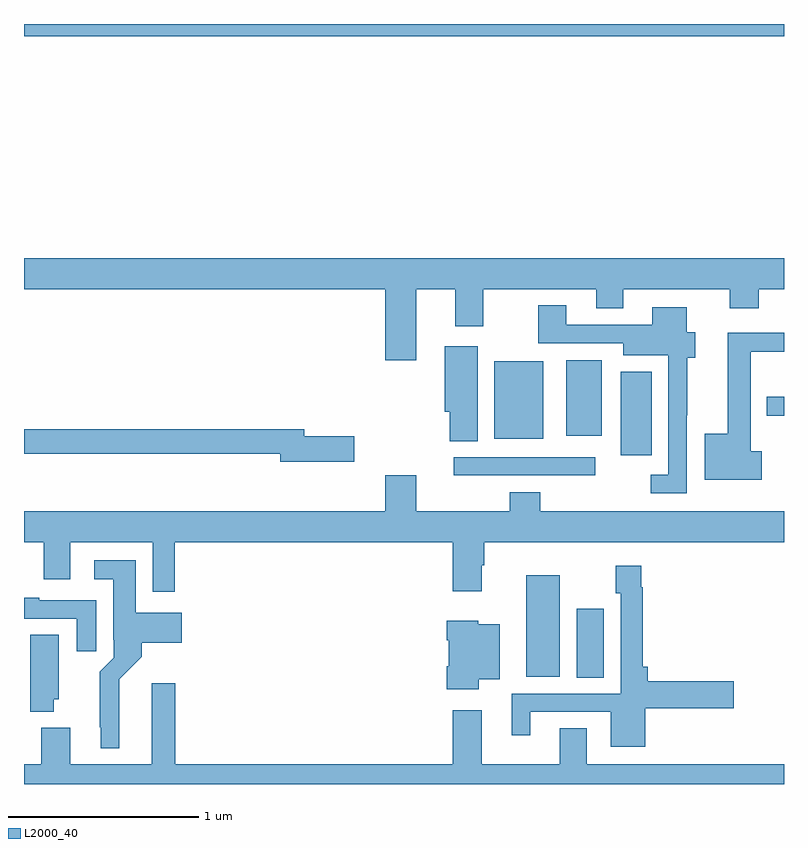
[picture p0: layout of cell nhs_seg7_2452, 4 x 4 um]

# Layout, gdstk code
import gdstk
lib = gdstk.Library(unit=1e-6, precision=1e-09)
def R(c, l, rs):  # rectangles x0, y0, x1, y1
    for r in rs: c.add(gdstk.rectangle(r[:2], r[2:], *l))
def P(c, l, *ps):  # polygons
    for p in ps: c.add(gdstk.Polygon(p, *l))
L2000_40 = (2000, 40)

nhs_seg7_2452 = lib.new_cell('nhs_seg7_2452')
R(nhs_seg7_2452, L2000_40, [(273.908,1010.56,274.051,1010.923), (273.644,1010.564,273.82,1011.1), (273.261,1011.624,274.006,1011.72), (274.142,1011.729,274.303,1012.171), (273.476,1011.818,273.733,1012.225), (273.854,1011.833,274.042,1012.231), (274.91,1011.938,275,1012.038), (271,1013.936,275,1014)])
P(nhs_seg7_2452, L2000_40, [(273.064,1012.604),(273.269,1012.604),(273.269,1012.41),(273.417,1012.41),(273.417,1012.604),(274.013,1012.604),(274.013,1012.505),(274.153,1012.505),(274.153,1012.604),(274.715,1012.604),(274.715,1012.505),(274.868,1012.505),(274.868,1012.604),(275,1012.604),(275,1012.768),(271,1012.768),(271,1012.604),(272.9,1012.604),(272.9,1012.23),(273.064,1012.23)],
  [(274.488,1011.94),(274.49,1011.94),(274.49,1012.244),(274.534,1012.244),(274.534,1012.378),(274.489,1012.378),(274.489,1012.51),(274.307,1012.51),(274.307,1012.416),(273.853,1012.416),(273.853,1012.519),(273.706,1012.519),(273.706,1012.32),(274.154,1012.32),(274.154,1012.256),(274.392,1012.256),(274.392,1011.627),(274.299,1011.627),(274.299,1011.531),(274.488,1011.531)],
  [(274.882,1011.752),(274.825,1011.752),(274.825,1012.276),(275,1012.276),(275,1012.375),(274.703,1012.375),(274.703,1011.844),(274.583,1011.844),(274.583,1011.602),(274.882,1011.602)],
  [(273.388,1012.303),(273.215,1012.303),(273.215,1011.959),(273.242,1011.959),(273.242,1011.805),(273.388,1011.805)],
  [(272.737,1011.83),(272.476,1011.83),(272.476,1011.866),(271,1011.866),(271,1011.738),(272.348,1011.738),(272.348,1011.695),(272.737,1011.695)],
  [(271.793,1011.272),(273.257,1011.272),(273.257,1011.015),(273.409,1011.015),(273.409,1011.152),(273.422,1011.152),(273.422,1011.272),(275,1011.272),(275,1011.436),(273.716,1011.436),(273.716,1011.535),(273.556,1011.535),(273.556,1011.436),(273.064,1011.436),(273.064,1011.625),(272.9,1011.625),(272.9,1011.436),(271,1011.436),(271,1011.272),(271.103,1011.272),(271.103,1011.078),(271.243,1011.078),(271.243,1011.272),(271.677,1011.272),(271.677,1011.012),(271.793,1011.012)],
  [(271.501,1010.552),(271.619,1010.67),(271.619,1010.744),(271.831,1010.744),(271.831,1010.902),(271.588,1010.902),(271.588,1011.178),(271.371,1011.178),(271.371,1011.077),(271.469,1011.077),(271.469,1010.758),(271.473,1010.758),(271.473,1010.664),(271.399,1010.59),(271.399,1010.299),(271.403,1010.299),(271.403,1010.189),(271.501,1010.189)],
  [(274.27,1010.398),(274.735,1010.398),(274.735,1010.54),(274.283,1010.54),(274.283,1010.617),(274.256,1010.617),(274.256,1011.035),(274.249,1011.035),(274.249,1011.148),(274.114,1011.148),(274.114,1011.003),(274.14,1011.003),(274.14,1010.475),(273.566,1010.475),(273.566,1010.256),(273.664,1010.256),(273.664,1010.379),(274.088,1010.379),(274.088,1010.195),(274.27,1010.195)],
  [(271.381,1010.967),(271.081,1010.967),(271.081,1010.98),(271,1010.98),(271,1010.871),(271.277,1010.871),(271.277,1010.7),(271.381,1010.7)],
  [(273.394,1010.552),(273.505,1010.552),(273.505,1010.842),(273.39,1010.842),(273.39,1010.86),(273.224,1010.86),(273.224,1010.756),(273.236,1010.756),(273.236,1010.62),(273.224,1010.62),(273.224,1010.498),(273.394,1010.498)],
  [(271.156,1010.445),(271.183,1010.445),(271.183,1010.786),(271.034,1010.786),(271.034,1010.381),(271.156,1010.381)],
  [(275,1010.104),(273.961,1010.104),(273.961,1010.294),(273.821,1010.294),(273.821,1010.104),(273.409,1010.104),(273.409,1010.389),(273.257,1010.389),(273.257,1010.104),(271.796,1010.104),(271.796,1010.53),(271.673,1010.53),(271.673,1010.104),(271.243,1010.104),(271.243,1010.296),(271.091,1010.296),(271.091,1010.104),(271,1010.104),(271,1010),(275,1010)])

lib.write_gds('nhs_seg7_2452.gds')
